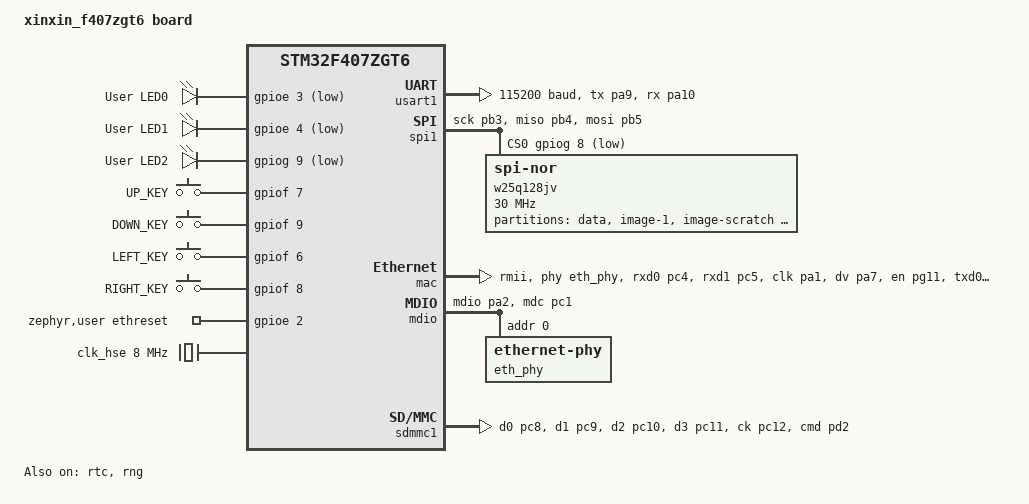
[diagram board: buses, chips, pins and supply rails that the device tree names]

/dts-v1/;
#include <st/f4/stm32f407Xg.dtsi>
#include <st/f4/stm32f407z(e-g)tx-pinctrl.dtsi>
#include <zephyr/dt-bindings/input/input-event-codes.h>
#include <zephyr/dt-bindings/lvgl/lvgl.h>

/ {
	model = "xinxin_f407zgt6 board";
	compatible = "xinxin-stm32f407zgt6";

	chosen {
		zephyr,console = &usart1;
		zephyr,shell-uart = &usart1;
		zephyr,sram = &sram0;
		zephyr,flash = &flash0;
		zephyr,ccm = &ccm0;
		zephyr,code-partition = &slot0_partition;
		zephyr,rtc = &rtc;
	};
	leds {
		compatible = "gpio-leds";
		LED0: led_0 {
			gpios = <&gpioe 3 GPIO_ACTIVE_LOW>;
			label = "User LED0";
		};
		LED1: led_1 {
			gpios = <&gpioe 4 GPIO_ACTIVE_LOW>;
			label = "User LED1";
		};
		LED2: led_2 {
			gpios = <&gpiog 9 GPIO_ACTIVE_LOW>;
			label = "User LED2";
		};
	};

	buttons: gpio_keys {
		compatible = "gpio-keys";
		up_key: up_key {
			label = "UP_KEY";
			gpios = <&gpiof 7 GPIO_PULL_UP>;
			zephyr,code = <INPUT_KEY_UP>;
		};
		down_key: down_key {
			label = "DOWN_KEY";
			gpios = <&gpiof 9 GPIO_PULL_UP>;
			zephyr,code = <INPUT_KEY_DOWN>;
		};
		left_key: left_key {
			label = "LEFT_KEY";
			gpios = <&gpiof 6 GPIO_PULL_UP>;
			zephyr,code = <INPUT_KEY_LEFT>;
		};
		right_key: right_key {
			label = "RIGHT_KEY";
			gpios = <&gpiof 8 GPIO_PULL_UP>;
			zephyr,code = <INPUT_KEY_RIGHT>;
		};
	};

	aliases {
		rtc = &rtc;
	};
	zephyr,user {
            	ethreset-gpios = <&gpioe 2 GPIO_ACTIVE_HIGH>;
	};
	keypad {
		compatible = "zephyr,lvgl-keypad-input";
		input = <&buttons>;
		input-codes = <INPUT_KEY_RIGHT INPUT_KEY_LEFT INPUT_KEY_UP INPUT_KEY_DOWN>;
		lvgl-codes =  <LV_KEY_RIGHT LV_KEY_LEFT LV_KEY_UP LV_KEY_DOWN>;
	};
};

&clk_lsi {
	status = "okay";
};

&clk_hse {
	clock-frequency = <DT_FREQ_M(8)>;
	status = "okay";
};

&pll {
	div-m = <8>;
	mul-n = <336>;
	div-p = <2>;
	div-q = <7>;
	clocks = <&clk_hse>;
	status = "okay";
};

&rcc {
	clocks = <&pll>;
	clock-frequency = <DT_FREQ_M(168)>;
	ahb-prescaler = <1>;
	apb1-prescaler = <4>;
	apb2-prescaler = <2>;
};

&usart1 {
	pinctrl-0 = <&usart1_tx_pa9 &usart1_rx_pa10>;
	pinctrl-names = "default";
	current-speed = <115200>;
	status = "okay";
};

&rtc {
	clocks = <&rcc STM32_CLOCK_BUS_APB1 0x10000000>,
		 <&rcc STM32_SRC_LSI RTC_SEL(2)>;
	status = "okay";
};

&flash0 {
	partitions {
		compatible = "fixed-partitions";
		#address-cells = <1>;
		#size-cells = <1>;

		boot_partition: partition@0 {
			label = "mcuboot";
			reg = <0x00000000 DT_SIZE_K(128)>;
			read-only;
		};

		slot0_partition: partition@20000 {
			label = "image-0";
			reg = <0x00020000 DT_SIZE_K(896)>;
		};
	};
};

&spi1 {
	pinctrl-0 = <&spi1_sck_pb3 &spi1_miso_pb4 &spi1_mosi_pb5>;
	pinctrl-names = "default";
	status = "okay";
	cs-gpios = <&gpiog 8 GPIO_ACTIVE_LOW>;
	w25q128jv: w25q128jv@0 {
		compatible = "jedec,spi-nor";
		reg = <0x0>;
		spi-max-frequency = <30000000>;
		size = <0x8000000>;
		jedec-id = [ef 40 18];
		partitions {
			compatible = "fixed-partitions";
			#address-cells = <1>;
			#size-cells = <1>;

			storage_partition: partition@0 {
				label = "data";
				reg = <0x00000000 DT_SIZE_M(13)>;
			};
			slot1_partition: partition@D00000 {
				label = "image-1";
				reg = <0x00D00000 DT_SIZE_K(896)>;
			};
			scratch_partition: partition@DE0000 {
				label = "image-scratch";
				reg = <0x00DE0000 DT_SIZE_K(128)>;
			};
			cfg_partition: partition@E00000 {
				label = "cfg";
				reg = <0x00E00000 DT_SIZE_M(2)>;
			};
		};
	};
};

&rng {
	status = "okay";
};

&mac {
	status = "okay";
	pinctrl-0 = <&eth_rxd0_pc4 &eth_rxd1_pc5 &eth_ref_clk_pa1 &eth_crs_dv_pa7 &eth_tx_en_pg11 &eth_txd0_pg13 &eth_txd1_pg14>;
	pinctrl-names = "default";
	phy-connection-type = "rmii";
	phy-handle = <&eth_phy>;
};

&mdio {
	status = "okay";
	pinctrl-0 = <&eth_mdio_pa2 &eth_mdc_pc1>;
	pinctrl-names = "default";

	eth_phy: ethernet-phy@0 {
		compatible = "ethernet-phy";
		reg = <0x00>;
	};
};

&sdmmc1 {
	status = "okay";
	pinctrl-0 = <&sdio_d0_pc8
		     &sdio_d1_pc9
		     &sdio_d2_pc10
		     &sdio_d3_pc11
		     &sdio_ck_pc12
		     &sdio_cmd_pd2>;
	pinctrl-names = "default";
	disk-name = "SD";
};
